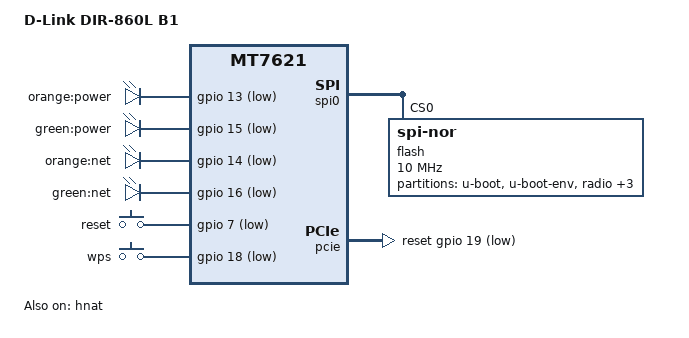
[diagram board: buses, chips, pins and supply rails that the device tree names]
#include "mt7621.dtsi"

#include <dt-bindings/gpio/gpio.h>
#include <dt-bindings/input/input.h>

/ {
	compatible = "dlink,dir-860l-b1", "mediatek,mt7621-soc";
	model = "D-Link DIR-860L B1";

	aliases {
		led-boot = &led_power_green;
		led-failsafe = &led_power_green;
		led-running = &led_power_green;
		led-upgrade = &led_power_green;
		label-mac-device = &gmac0;
	};

	leds {
		compatible = "gpio-leds";

		power {
			label = "orange:power";
			gpios = <&gpio 13 GPIO_ACTIVE_LOW>;
		};

		led_power_green: power2 {
			label = "green:power";
			gpios = <&gpio 15 GPIO_ACTIVE_LOW>;
		};

		net {
			label = "orange:net";
			gpios = <&gpio 14 GPIO_ACTIVE_LOW>;
		};

		net2 {
			label = "green:net";
			gpios = <&gpio 16 GPIO_ACTIVE_LOW>;
		};
	};

	keys {
		compatible = "gpio-keys";

		reset {
			label = "reset";
			gpios = <&gpio 7 GPIO_ACTIVE_LOW>;
			linux,code = <KEY_RESTART>;
		};

		wps {
			label = "wps";
			gpios = <&gpio 18 GPIO_ACTIVE_LOW>;
			linux,code = <KEY_WPS_BUTTON>;
		};
	};
};

&spi0 {
	status = "okay";

	flash@0 {
		compatible = "jedec,spi-nor";
		reg = <0>;
		spi-max-frequency = <10000000>;

		partitions {
			compatible = "fixed-partitions";
			#address-cells = <1>;
			#size-cells = <1>;

			partition@0 {
				label = "u-boot";
				reg = <0x0 0x30000>;
				read-only;
			};

			partition@30000 {
				label = "u-boot-env";
				reg = <0x30000 0x4000>;
				read-only;
			};

			radio: partition@34000 {
				label = "radio";
				reg = <0x34000 0x4000>;
				read-only;
			};

			factory: partition@38000 {
				label = "factory";
				reg = <0x38000 0x8000>;
				read-only;
			};

			partition@40000 {
				label = "defaults";
				reg = <0x40000 0x10000>;
				read-only;
			};

			partition@50000 {
				compatible = "seama";
				label = "firmware";
				reg = <0x50000 0xfb0000>;
			};
		};
	};
};

&gmac0 {
	mtd-mac-address = <&radio 0x4>;
};

&gmac1 {
	mtd-mac-address = <&radio 0x4>;
};

&switch0 {
	/delete-property/ compatible;
};

&hnat {
        mtketh-wan = "eth1";
        mtketh-ppd = "eth0";
        mtketh-lan = "eth0";
	ext-devices = "wlan0","wlan1","rax0","ra0", "rai0","apclii0","apclix0", "apcli0";
        mtketh-max-gmac = <2>;
        status = "okay";
};

&gsw {
	mediatek,mdio = <&mdio>;
	mediatek,portmap = "wllll";
	mediatek,mcm;
	mt7530,direct-phy-access;

	resets = <&rstctrl 2>;
	reset-names = "mcm";

	port5: port@5 {
		compatible = "mediatek,mt753x-port";
		reg = <5>;
		phy-mode = "rgmii";
		fixed-link {
			speed = <1000>;
			full-duplex;
		};
	};

	port6: port@6 {
		compatible = "mediatek,mt753x-port";
		reg = <6>;
		phy-mode = "rgmii";
		fixed-link {
			speed = <1000>;
			full-duplex;
		};
	};

	mdio-bus {
		#address-cells = <1>;
		#size-cells = <0>;
	};
};

&pcie {
	status = "okay";

	reset-gpios = <&gpio 19 GPIO_ACTIVE_LOW>,
		      <&gpio 8 GPIO_ACTIVE_LOW>;
};

&pcie0 {
	wifi0: mt76@0,0 {
		reg = <0x0000 0 0 0 0>;
		mediatek,mtd-eeprom = <&radio 0x2000>;
		ieee80211-freq-limit = <5000000 6000000>;
	};
};

&pcie1 {
	wifi1: mt76@0,0 {
		reg = <0x0000 0 0 0 0>;
		mediatek,mtd-eeprom = <&radio 0x0>;
		ieee80211-freq-limit = <2400000 2500000>;
	};
};

&state_default {
	gpio {
		groups = "uart3", "jtag", "wdt";
		function = "gpio";
	};
};
